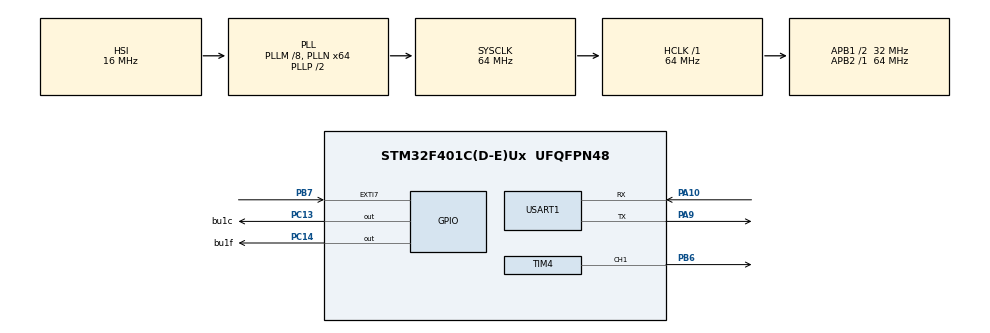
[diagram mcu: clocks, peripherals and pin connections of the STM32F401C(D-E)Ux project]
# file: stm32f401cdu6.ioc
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Mcu.Family=STM32F4
Mcu.Name=STM32F401C(D-E)Ux
Mcu.Package=UFQFPN48
NVIC.EXTI9_5_IRQn=true\:0\:0\:false\:false\:false\:true\:true\:true
NVIC.PriorityGroup=NVIC_PRIORITYGROUP_4
NVIC.TIM4_IRQn=true\:1\:0\:true\:false\:false\:true\:true\:true
NVIC.USART1_IRQn=true\:2\:0\:true\:false\:false\:true\:true\:true
PA10.Mode=Asynchronous
PA10.Signal=USART1_RX
PA13.Mode=Serial_Wire
PA13.Signal=SYS_JTMS-SWDIO
PA14.Mode=Serial_Wire
PA14.Signal=SYS_JTCK-SWCLK
PA9.Mode=Asynchronous
PA9.Signal=USART1_TX
PB6.Signal=S_TIM4_CH1
PB7.Signal=GPXTI7
PC13-ANTI_TAMP.GPIO_Label=bu1c
PC13-ANTI_TAMP.Signal=GPIO_Output
PC14-OSC32_IN.GPIO_Label=bu1f
PC14-OSC32_IN.Signal=GPIO_Output
ProjectManager.HeapSize=0x200
ProjectManager.StackSize=0x400
ProjectManager.TargetToolchain=STM32CubeIDE
RCC.48MHZClocksFreq_Value=32000000
RCC.AHBFreq_Value=64000000
RCC.APB1CLKDivider=RCC_HCLK_DIV2
RCC.APB1Freq_Value=32000000
RCC.APB1TimFreq_Value=64000000
RCC.APB2Freq_Value=64000000
RCC.APB2TimFreq_Value=64000000
RCC.CortexFreq_Value=64000000
RCC.HCLKFreq_Value=64000000
RCC.HSE_VALUE=25000000
RCC.HSI_VALUE=16000000
RCC.LSE_VALUE=32768
RCC.PLLM=8
RCC.PLLN=64
RCC.SYSCLKFreq_VALUE=64000000
RCC.SYSCLKSource=RCC_SYSCLKSOURCE_PLLCLK
RCC.VCOOutputFreq_Value=128000000
SH.S_TIM4_CH1.0=TIM4_CH1,PWM Generation1 CH1
TIM4.Channel-PWM\ Generation1\ CH1=TIM_CHANNEL_1
TIM4.Period=50000
TIM4.Prescaler=1
TIM4.Pulse-PWM\ Generation1\ CH1=0
USART1.VirtualMode=VM_ASYNC
VP_TIM4_VS_ClockSourceINT.Mode=Internal
board=custom

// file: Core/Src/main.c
/* USER CODE BEGIN Header */
/**
  ******************************************************************************
  * @file           : main.c
  * @brief          : Main program body
  ******************************************************************************
  * @attention
  *
  * Copyright (c) 2023 STMicroelectronics.
  * All rights reserved.
  *
  * This software is licensed under terms that can be found in the LICENSE file
  * in the root directory of this software component.
  * If no LICENSE file comes with this software, it is provided AS-IS.
  *
  ******************************************************************************
  */
/* USER CODE END Header */
#include "main.h"

/* USER CODE BEGIN Includes */
#include "achuankou.h"
#include "abujindianjipwm.h"
extern bujinpwm dianji[4];
extern uint16_t jiasuliebiao[31005] ;
uint32_t jici = 0;
extern uint16_t jjj[10];
extern uint16_t dingshi;
/* USER CODE END Includes */

TIM_HandleTypeDef htim4;

UART_HandleTypeDef huart1;

void SystemClock_Config(void);
static void MX_GPIO_Init(void);
static void MX_TIM4_Init(void);
static void MX_USART1_UART_Init(void);

/* USER CODE BEGIN 0 */

void TIM4_IRQHandler(void)
{
  /* USER CODE BEGIN TIM4_IRQn 0 */
	pwmzhongduankongzhi();
  /* USER CODE END TIM4_IRQn 0 */
	//HAL_GPIO_TogglePin(bu1c_GPIO_Port, bu1c_Pin);
  HAL_TIM_IRQHandler(&htim4);
  jjj[3] = TIM4->CNT;
  if(jjj[4] < jjj[3])jjj[4] = jjj[3];
  /* USER CODE BEGIN TIM4_IRQn 1 */

  /* USER CODE END TIM4_IRQn 1 */
}
void EXTI9_5_IRQHandler(void)
{
  /* USER CODE BEGIN EXTI9_5_IRQn 0 */
	if(dianji[0].shijifangxiang == 1)
	{
		dianji[0].jiluweizhi  ++;
	}
	if(dianji[0].shijifangxiang == 0)
	{
		dianji[0].jiluweizhi  --;
	}
  /* USER CODE END EXTI9_5_IRQn 0 */
  HAL_GPIO_EXTI_IRQHandler(GPIO_PIN_7);
  /* USER CODE BEGIN EXTI9_5_IRQn 1 */

  /* USER CODE END EXTI9_5_IRQn 1 */
}
/* USER CODE END 0 */

int main(void)
{

  /* MCU Configuration--------------------------------------------------------*/

  /* Reset of all peripherals, Initializes the Flash interface and the Systick. */
  HAL_Init();

  /* Configure the system clock */
  SystemClock_Config();

  /* Initialize all configured peripherals */
  MX_GPIO_Init();
  MX_TIM4_Init();
  MX_USART1_UART_Init();

  /* Infinite loop */
  /* USER CODE BEGIN WHILE */
   HAL_TIM_PWM_Start(&htim4,TIM_CHANNEL_1);
  HAL_TIM_Base_Start_IT(&htim4);
  HAL_Delay(100);

  jiasuleibiaojisuan(32000000,500,64000,31004);//先计算一遍加速表

  dianji[0].zuidasudu = s2b(32000000,32000);//设置�???大�?�度
  //uint64_t aa = 96000;
  //dianji[0].zuidasudu = aa*aa/2/50000;
  //dianji[0].zuidasudu = s2b2(500,50000,96000);
  dianji[0].yudingweizhi = 32000;//设置位置

  while (1)
  {
	  jici++;
	  if(jici == 100)
	  {
		  //HAL_TIM_PWM_Stop(&htim4,TIM_CHANNEL_1);//关闭定时�???
		  dianji[0].yudingweizhi = 0*10;//设置位置
	  }
	  if(jici == 200)
	  {
		  jici = 0;
		  //HAL_TIM_PWM_Stop(&htim4,TIM_CHANNEL_1);//关闭定时�???
		  dianji[0].yudingweizhi = 3200*10;//设置位置
	  }

//
	  HAL_Delay(20);
	  chuankoufasong(201,dianji[0].dangqianweizhi);
	  chuankoufasong(202,dianji[0].dangqiansudu);
	  chuankoufasong(203,dianji[0].jiluweizhi);
//
	  chuankoufasong(204,dianji[0].zuidasudu);
	  chuankoufasong(205,TIM4->CNT);
//
//	  chuankoufasong(207,jjj[0]);
//	  chuankoufasong(208,jjj[1]);
//	  chuankoufasong(209,jjj[3]);
//	  chuankoufasong(210,jjj[4]);
//
	  chuankoufasong(215,jici);
//	  chuankoufasong(216,jiasuliebiao[jici]);
	  HAL_GPIO_TogglePin(bu1c_GPIO_Port, bu1c_Pin);
    /* USER CODE END WHILE */

  }
}

void SystemClock_Config(void)
{
  RCC_OscInitTypeDef RCC_OscInitStruct = {0};
  RCC_ClkInitTypeDef RCC_ClkInitStruct = {0};

  /** Configure the main internal regulator output voltage
  */
  __HAL_RCC_PWR_CLK_ENABLE();
  __HAL_PWR_VOLTAGESCALING_CONFIG(PWR_REGULATOR_VOLTAGE_SCALE2);

  /** Initializes the RCC Oscillators according to the specified parameters
  * in the RCC_OscInitTypeDef structure.
  */
  RCC_OscInitStruct.OscillatorType = RCC_OSCILLATORTYPE_HSI;
  RCC_OscInitStruct.HSIState = RCC_HSI_ON;
  RCC_OscInitStruct.HSICalibrationValue = RCC_HSICALIBRATION_DEFAULT;
  RCC_OscInitStruct.PLL.PLLState = RCC_PLL_ON;
  RCC_OscInitStruct.PLL.PLLSource = RCC_PLLSOURCE_HSI;
  RCC_OscInitStruct.PLL.PLLM = 8;
  RCC_OscInitStruct.PLL.PLLN = 64;
  RCC_OscInitStruct.PLL.PLLP = RCC_PLLP_DIV2;
  RCC_OscInitStruct.PLL.PLLQ = 4;
  if (HAL_RCC_OscConfig(&RCC_OscInitStruct) != HAL_OK)
  {
    Error_Handler();
  }

  /** Initializes the CPU, AHB and APB buses clocks
  */
  RCC_ClkInitStruct.ClockType = RCC_CLOCKTYPE_HCLK|RCC_CLOCKTYPE_SYSCLK
                              |RCC_CLOCKTYPE_PCLK1|RCC_CLOCKTYPE_PCLK2;
  RCC_ClkInitStruct.SYSCLKSource = RCC_SYSCLKSOURCE_PLLCLK;
  RCC_ClkInitStruct.AHBCLKDivider = RCC_SYSCLK_DIV1;
  RCC_ClkInitStruct.APB1CLKDivider = RCC_HCLK_DIV2;
  RCC_ClkInitStruct.APB2CLKDivider = RCC_HCLK_DIV1;

  if (HAL_RCC_ClockConfig(&RCC_ClkInitStruct, FLASH_LATENCY_2) != HAL_OK)
  {
    Error_Handler();
  }
}

static void MX_TIM4_Init(void)
{

  TIM_ClockConfigTypeDef sClockSourceConfig = {0};
  TIM_MasterConfigTypeDef sMasterConfig = {0};
  TIM_OC_InitTypeDef sConfigOC = {0};

  htim4.Instance = TIM4;
  htim4.Init.Prescaler = 1;
  htim4.Init.CounterMode = TIM_COUNTERMODE_UP;
  htim4.Init.Period = 50000;
  htim4.Init.ClockDivision = TIM_CLOCKDIVISION_DIV1;
  htim4.Init.AutoReloadPreload = TIM_AUTORELOAD_PRELOAD_DISABLE;
  if (HAL_TIM_Base_Init(&htim4) != HAL_OK)
  {
    Error_Handler();
  }
  sClockSourceConfig.ClockSource = TIM_CLOCKSOURCE_INTERNAL;
  if (HAL_TIM_ConfigClockSource(&htim4, &sClockSourceConfig) != HAL_OK)
  {
    Error_Handler();
  }
  if (HAL_TIM_PWM_Init(&htim4) != HAL_OK)
  {
    Error_Handler();
  }
  sMasterConfig.MasterOutputTrigger = TIM_TRGO_RESET;
  sMasterConfig.MasterSlaveMode = TIM_MASTERSLAVEMODE_DISABLE;
  if (HAL_TIMEx_MasterConfigSynchronization(&htim4, &sMasterConfig) != HAL_OK)
  {
    Error_Handler();
  }
  sConfigOC.OCMode = TIM_OCMODE_PWM1;
  sConfigOC.Pulse = 0;
  sConfigOC.OCPolarity = TIM_OCPOLARITY_HIGH;
  sConfigOC.OCFastMode = TIM_OCFAST_DISABLE;
  if (HAL_TIM_PWM_ConfigChannel(&htim4, &sConfigOC, TIM_CHANNEL_1) != HAL_OK)
  {
    Error_Handler();
  }
  HAL_TIM_MspPostInit(&htim4);

}

static void MX_USART1_UART_Init(void)
{

  huart1.Instance = USART1;
  huart1.Init.BaudRate = 115200;
  huart1.Init.WordLength = UART_WORDLENGTH_8B;
  huart1.Init.StopBits = UART_STOPBITS_1;
  huart1.Init.Parity = UART_PARITY_NONE;
  huart1.Init.Mode = UART_MODE_TX_RX;
  huart1.Init.HwFlowCtl = UART_HWCONTROL_NONE;
  huart1.Init.OverSampling = UART_OVERSAMPLING_16;
  if (HAL_UART_Init(&huart1) != HAL_OK)
  {
    Error_Handler();
  }

}

static void MX_GPIO_Init(void)
{
  GPIO_InitTypeDef GPIO_InitStruct = {0};

  /* GPIO Ports Clock Enable */
  __HAL_RCC_GPIOC_CLK_ENABLE();
  __HAL_RCC_GPIOA_CLK_ENABLE();
  __HAL_RCC_GPIOB_CLK_ENABLE();

  /*Configure GPIO pin Output Level */
  HAL_GPIO_WritePin(GPIOC, bu1c_Pin|bu1f_Pin, GPIO_PIN_RESET);

  /*Configure GPIO pins : bu1c_Pin bu1f_Pin */
  GPIO_InitStruct.Pin = bu1c_Pin|bu1f_Pin;
  GPIO_InitStruct.Mode = GPIO_MODE_OUTPUT_PP;
  GPIO_InitStruct.Pull = GPIO_NOPULL;
  GPIO_InitStruct.Speed = GPIO_SPEED_FREQ_LOW;
  HAL_GPIO_Init(GPIOC, &GPIO_InitStruct);

  /*Configure GPIO pin : PB7 */
  GPIO_InitStruct.Pin = GPIO_PIN_7;
  GPIO_InitStruct.Mode = GPIO_MODE_IT_RISING;
  GPIO_InitStruct.Pull = GPIO_NOPULL;
  HAL_GPIO_Init(GPIOB, &GPIO_InitStruct);

  /* EXTI interrupt init*/
  HAL_NVIC_SetPriority(EXTI9_5_IRQn, 0, 0);
  HAL_NVIC_EnableIRQ(EXTI9_5_IRQn);

}

void Error_Handler(void)
{
  __disable_irq();
  while (1)
  {
  }
}
